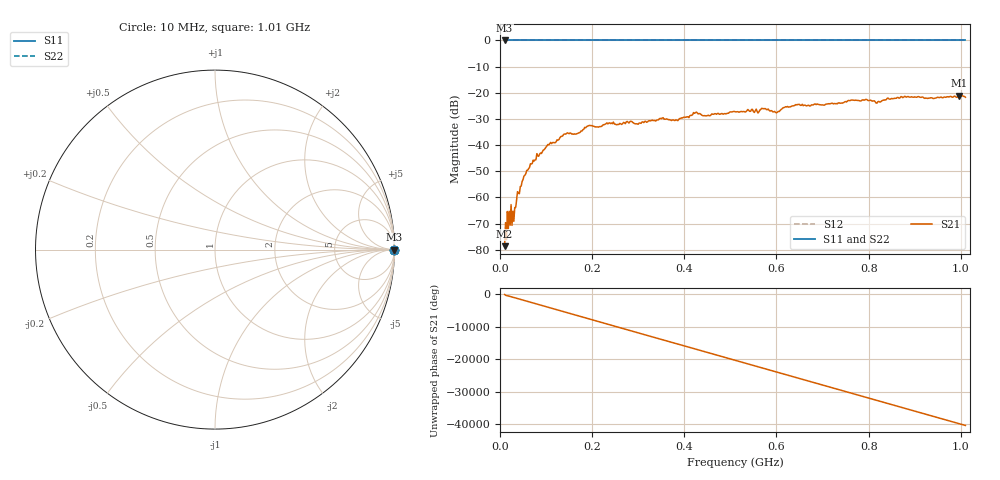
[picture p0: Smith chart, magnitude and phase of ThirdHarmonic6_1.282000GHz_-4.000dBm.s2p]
! 8/16/2025 1:57:09 PM
! C:\ANRITSUVNA\TEMP\TEMP.S2P
! CHANNEL.1
! TR.MEASUREMENT
! RAW.DATA
! RF.CORRECTION.OFF
! AVERAGING.OFF
! IF.BANDWIDTH: 5KHZ
! SWEEPTYPE:  FREQ.SWEEP(Linear)
! Reference Plane Port Info
! PORT:  PORT1  PORT2
! DISTANCE:  0  m  0  m
! TIME:  0  s  0  s
! PHASE.OFFSET:  0  deg.  0  deg.
! LOSS:  0  dB  0  dB
! REF.LOSS:  0  dB  0  dB
! REF.FREQ:  0  Hz  0  Hz
! Power Info
! POWER:  -20  dBm  -20  dBm
! EFF.POWER:  -20  dBm  -20  dBm
! SOURCE.ATTEN:  0  dB  0  dB
! TEST.ATTEN:  0  dB  0  dB
# GHZ S RI R 50.0
! FREQ.GHZ  S11RE  S11IM  S21RE  S21IM  S12RE  S12IM  S22RE  S22IM
!; PortSelection: Port_12
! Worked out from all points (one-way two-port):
!   501 points, 10 MHz to 1.01 GHz, reference 50 ohm
!   highest |S21| = -21.12 dB at 996 MHz (marker M1); lowest = -78.6 dB at 10 MHz (marker M2)
!   lowest |S11| = 0.0 dB at 10 MHz (marker M3)
!   |S11| at or under -10 dB: nowhere
!   |S22| runs from 0.0 to 0.0 dB; largest |S21 - S12| = 1.1
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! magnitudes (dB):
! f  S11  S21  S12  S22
! 10 MHz  0.0  -78.6  0.0  0.0
! 16 MHz  0.0  -65.3  0.0  0.0
! 18 MHz  0.0  -72.0  0.0  0.0
! 20 MHz  0.0  -65.3  0.0  0.0
! 22 MHz  0.0  -70.6  0.0  0.0
! 30 MHz  0.0  -69.1  0.0  0.0
! 36 MHz  0.0  -61.0  0.0  0.0
! 48 MHz  0.0  -53.9  0.0  0.0
! 68 MHz  0.0  -47.2  0.0  0.0
! 106 MHz  0.0  -39.9  0.0  0.0
! 142 MHz  0.0  -35.8  0.0  0.0
! 178 MHz  0.0  -34.6  0.0  0.0
! 194 MHz  0.0  -32.5  0.0  0.0
! 344 MHz  0.0  -30.3  0.0  0.0
! 510 MHz  0.0  -27.2  0.0  0.0
! 572 MHz  0.0  -26.1  0.0  0.0
! 602 MHz  0.0  -27.4  0.0  0.0
! 644 MHz  0.0  -24.6  0.0  0.0
! 678 MHz  0.0  -24.7  0.0  0.0
! 844 MHz  0.0  -22.3  0.0  0.0
! 996 MHz  0.0  -21.1  0.0  0.0
! 1.01 GHz  0.0  -21.7  0.0  0.0
